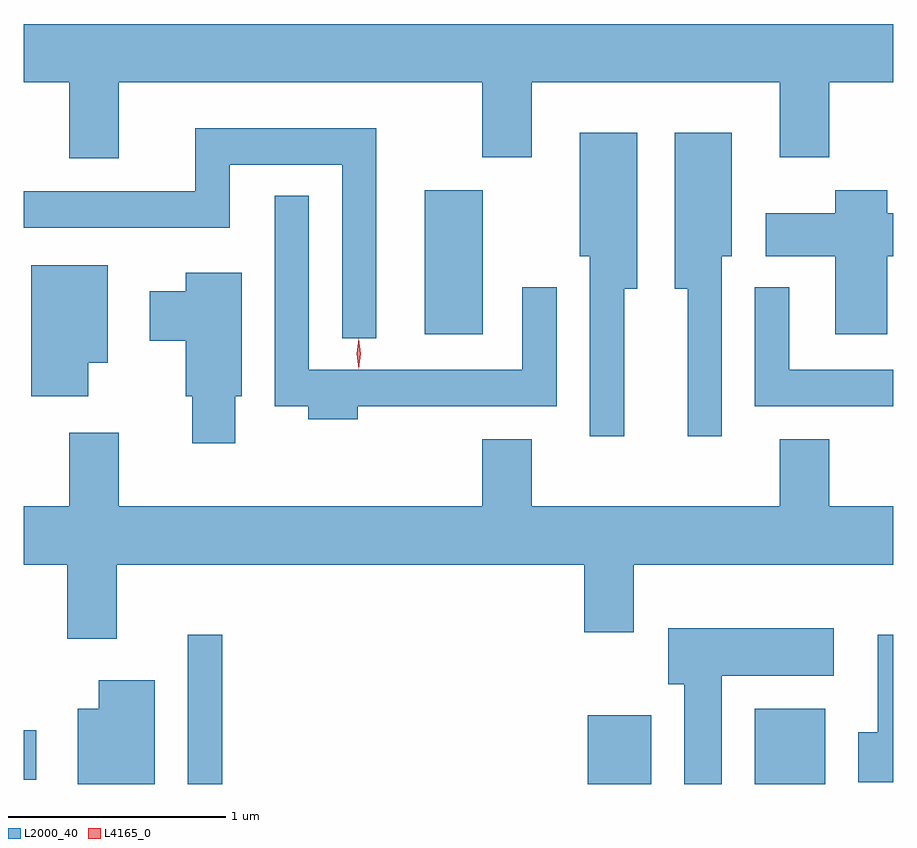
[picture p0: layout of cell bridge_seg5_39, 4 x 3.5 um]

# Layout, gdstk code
import gdstk
lib = gdstk.Library(unit=1e-6, precision=1e-09)
def R(c, l, rs):  # rectangles x0, y0, x1, y1
    for r in rs: c.add(gdstk.rectangle(r[:2], r[2:], *l))
def P(c, l, *ps):  # polygons
    for p in ps: c.add(gdstk.Polygon(p, *l))
L2000_40 = (2000, 40)
L4165_0 = (4165, 0)

bridge_seg5_39 = lib.new_cell('bridge_seg5_39')
R(bridge_seg5_39, L2000_40, [(1328.236,1466.887,1328.394,1467.573), (1330.076,1466.887,1330.369,1467.204), (1330.846,1466.887,1331.169,1467.234), (1327.482,1466.906,1327.539,1467.134), (1329.326,1468.956,1329.594,1469.619)])
P(bridge_seg5_39, L2000_40, [(1327.919,1470.116),(1329.591,1470.116),(1329.591,1469.771),(1329.819,1469.771),(1329.819,1470.116),(1330.961,1470.116),(1330.961,1469.771),(1331.189,1469.771),(1331.189,1470.116),(1331.482,1470.116),(1331.482,1470.384),(1327.482,1470.384),(1327.482,1470.116),(1327.691,1470.116),(1327.691,1469.766),(1327.919,1469.766)],
  [(1329.104,1469.904),(1328.271,1469.904),(1328.271,1469.614),(1327.482,1469.614),(1327.482,1469.446),(1328.429,1469.446),(1328.429,1469.736),(1328.946,1469.736),(1328.946,1468.938),(1329.104,1468.938)],
  [(1330.244,1469.166),(1330.304,1469.166),(1330.304,1469.884),(1330.041,1469.884),(1330.041,1469.316),(1330.086,1469.316),(1330.086,1468.488),(1330.244,1468.488)],
  [(1330.694,1469.316),(1330.739,1469.316),(1330.739,1469.884),(1330.476,1469.884),(1330.476,1469.166),(1330.536,1469.166),(1330.536,1468.488),(1330.694,1468.488)],
  [(1331.454,1469.316),(1331.482,1469.316),(1331.482,1469.514),(1331.454,1469.514),(1331.454,1469.619),(1331.216,1469.619),(1331.216,1469.514),(1330.896,1469.514),(1330.896,1469.316),(1331.216,1469.316),(1331.216,1468.956),(1331.454,1468.956)],
  [(1329.019,1468.626),(1329.934,1468.626),(1329.934,1469.173),(1329.776,1469.173),(1329.776,1468.794),(1328.794,1468.794),(1328.794,1469.593),(1328.636,1469.593),(1328.636,1468.626),(1328.791,1468.626),(1328.791,1468.566),(1329.019,1468.566)],
  [(1327.779,1468.826),(1327.869,1468.826),(1327.869,1469.274),(1327.516,1469.274),(1327.516,1468.671),(1327.779,1468.671)],
  [(1328.454,1468.671),(1328.484,1468.671),(1328.484,1469.239),(1328.226,1469.239),(1328.226,1469.154),(1328.061,1469.154),(1328.061,1468.926),(1328.226,1468.926),(1328.226,1468.671),(1328.256,1468.671),(1328.256,1468.456),(1328.454,1468.456)],
  [(1331.482,1468.794),(1331.004,1468.794),(1331.004,1469.173),(1330.846,1469.173),(1330.846,1468.626),(1331.482,1468.626)],
  [(1327.909,1467.896),(1330.061,1467.896),(1330.061,1467.586),(1330.289,1467.586),(1330.289,1467.896),(1331.482,1467.896),(1331.482,1468.164),(1331.189,1468.164),(1331.189,1468.474),(1330.961,1468.474),(1330.961,1468.164),(1329.819,1468.164),(1329.819,1468.474),(1329.591,1468.474),(1329.591,1468.164),(1327.919,1468.164),(1327.919,1468.504),(1327.691,1468.504),(1327.691,1468.164),(1327.482,1468.164),(1327.482,1467.896),(1327.681,1467.896),(1327.681,1467.556),(1327.909,1467.556)],
  [(1330.694,1467.386),(1331.209,1467.386),(1331.209,1467.604),(1330.446,1467.604),(1330.446,1467.346),(1330.521,1467.346),(1330.521,1466.887),(1330.694,1466.887)],
  [(1331.482,1467.574),(1331.411,1467.574),(1331.411,1467.124),(1331.321,1467.124),(1331.321,1466.896),(1331.482,1466.896)],
  [(1328.084,1467.364),(1327.826,1467.364),(1327.826,1467.234),(1327.731,1467.234),(1327.731,1466.887),(1328.084,1466.887)])
P(bridge_seg5_39, L4165_0, [(1329.023,1468.797),(1329.022,1468.798),(1329.013,1468.867),(1329.022,1468.936),(1329.023,1468.936),(1329.023,1468.936),(1329.033,1468.867),(1329.023,1468.798)])

lib.write_gds('bridge_seg5_39.gds')
